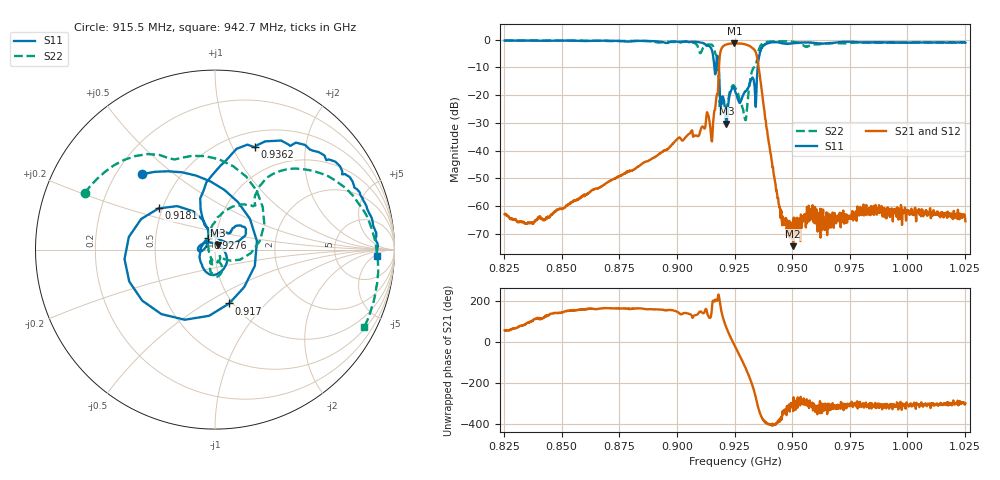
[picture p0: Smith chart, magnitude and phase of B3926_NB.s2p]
! Matrix data file written by TouchstoneData, EPCOS AG
! FILENAME: "B3926_NB.s2p"
! COMMENT: "NWA-Port1 : 98.0ps NWA-Port2 : 98.0ps PCB2031"
! INFO: nport=2, nfreq=1601
! DATE: "Wed Mar 13 2013"
! USER: "Hiroshi Tanaka"
! port | pin | signal
!  1  |  2  |  in
!  2  |  5  |  out
# MHZ S MA R 50
! freq  magS11 angS11  magS21 angS21  magS12 angS12  magS22 angS22
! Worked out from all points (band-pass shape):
!   1601 points, 825.2 MHz to 1.025 GHz, reference 50 ohm
!   highest |S21| = -1.28 dB at 925 MHz (marker M1); lowest = -74.5 dB at 950.5 MHz (marker M2)
!   |S21| within 3 dB of the highest: 918.9 MHz to 934.1 MHz (15.19 MHz wide, 1.64 % of centre)
!   lowest |S11| = -30.3 dB at 921.5 MHz (marker M3), VSWR 1.06, Z = 51.4 + j2.73 ohm
!   |S11| at or under -10 dB: 916.2573 MHz to 916.9635 MHz (706.2 kHz wide, 0.077 % of centre); 918.2 MHz to 935 MHz (16.81 MHz wide, 1.81 % of centre)
!   |S22| runs from -29.0 to -0.3 dB; largest |S21 - S12| = 0.0016
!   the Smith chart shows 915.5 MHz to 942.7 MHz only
!   S11 on the Smith chart (normalised r, x): 915.5 MHz: 0.31, +0.39; 917 MHz: 0.96, -0.64; 918.1 MHz: 0.48, +0.26; 927.6 MHz: 0.91, +0.12; 936.2 MHz: 0.67, +1.22; 942.7 MHz: 17, -6
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825.2  0.9658 -66.3  0.0007088 57.7  0.0007099 58.6  0.9678 -82.7
858.575  0.9525 -74.6  0.001497 159.0  0.001494 159.1  0.9649 -90.2
891.95  0.9298 -93.8  0.008426 159.4  0.008406 159.6  0.8883 -108.2
908.075  0.9144 -126.1  0.01868 131.7  0.01867 131.9  0.8507 -146.2
913.575  0.7821 -171.3  0.04368 128.3  0.04366 128.3  0.8215 -165.9
915.45  0.584 134.0  0.02081 -162.4  0.02081 -162.3  0.7909 156.6
916.95  0.3103 -75.2  0.08148 -154.0  0.08147 -153.9  0.5379 103.8
918.075  0.389 143.8  0.2196 -127.9  0.2195 -127.8  0.2015 -5.5
919.575  0.09365 -177.2  0.7219 136.7  0.7216 136.8  0.07475 -83.0
921.45  0.03038 60.6  0.823 70.6  0.8227 70.7  0.05672 -90.5
924.95  0.1306 -115.6  0.8634 -15.0  0.8631 -14.9  0.1437 -94.6
925.2  0.1215 -123.2  0.8619 -20.8  0.8617 -20.7  0.1385 -96.9
927.575  0.07523 122.8  0.853 -73.6  0.853 -73.5  0.07569 -105.8
929.7  0.117 51.8  0.822 -124.1  0.8221 -124.0  0.03539 -162.9
931.45  0.1539 50.7  0.7728 -171.1  0.7726 -171.0  0.1504 90.9
933.7  0.1458 20.4  0.6469 113.7  0.6467 113.8  0.3269 48.5
936.2  0.6117 68.8  0.1854 9.2  0.1854 9.3  0.7694 30.4
942.7  0.9039 -2.1  0.002637 -41.6  0.002639 -41.5  0.9367 -27.4
950.45  0.8609 -21.8  0.0001879 22.3  0.0001976 25.0  0.9172 -51.0
958.575  0.8767 -34.6  0.0005732 54.5  0.0005692 55.0  0.8113 -53.1
991.95  0.8992 -50.3  0.0008954 47.0  0.0008921 47.3  0.8868 -68.5
1025.2  0.8845 -56.0  0.0005287 60.1  0.0005305 61.0  0.8898 -73.5
